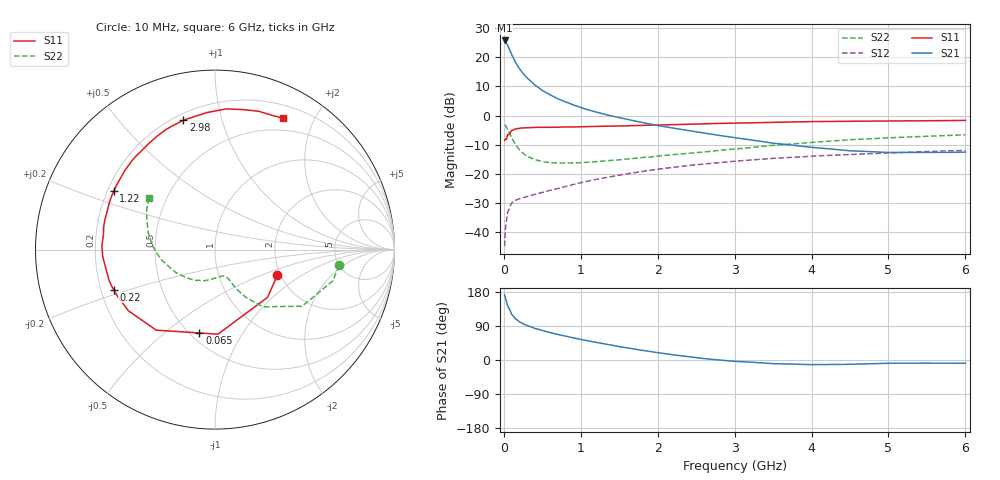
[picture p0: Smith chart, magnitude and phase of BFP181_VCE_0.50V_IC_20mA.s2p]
! Infineon Technologies  Discrete & RF Semiconductors
! BFP181
! VCE = 0.50V,  IC =  20 mA
! Common Emitter S-Parameters:  Jan 2016
# GHz  S  MA  R  50
!  f  S11  S21  S12  S22
! GHz  MAG  ANG  MAG  ANG  MAG  ANG  MAG  ANG
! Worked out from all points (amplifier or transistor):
!   210 points, 10 MHz to 6 GHz, reference 50 ohm
!   highest |S21| = 25.8 dB at 10 MHz (marker M1)
!   |S21| within 3 dB of that: start of sweep to 71.07 MHz
!   unconditionally stable (mu >= 1): start of sweep to 28.76 MHz; 156 MHz to end of sweep
!   at 185 MHz: K = 1.13, MAG = 20.7 dB, |S12| = -28.8 dB
!   at 1.52 GHz: K = 3.10, MAG = 2.0 dB, |S12| = -20.4 dB
!   at 6 GHz: K = 2.47, MAG = -7.1 dB, |S12| = -12.0 dB
!   S11 on the Smith chart (normalised r, x): 10 MHz: 1.92, -0.64; 65 MHz: 0.56, -0.66; 220 MHz: 0.25, -0.18; 1.22 GHz: 0.23, +0.25; 2.98 GHz: 0.24, +0.76; 6 GHz: 0.35, +1.59
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0.01  0.3757 -22.4  19.48 171.7  0.0057 69.2  0.6968 -7.3
0.02  0.3955 -42.3  19.01 163.6  0.0109 67.2  0.679 -14.9
0.05  0.4714 -88.0  16.06 142.5  0.0219 55.6  0.5785 -33.1
0.065  0.4724 -100.6  14.42 137.6  0.0245 50.1  0.5258 -37.0
0.1  0.5554 -126.1  11.19 120.9  0.0312 41.2  0.4166 -49.9
0.15  0.5907 -144.7  8.278 108.9  0.0349 35.9  0.3181 -57.0
0.2  0.6043 -155.5  6.454 101.0  0.0372 33.9  0.2596 -60.7
0.22  0.6072 -158.5  5.968 99.0  0.0378 33.6  0.2453 -61.4
0.26  0.6146 -164.1  5.092 94.5  0.0391 33.3  0.2193 -62.9
0.3  0.6158 -168.3  4.443 90.9  0.0406 34.3  0.2008 -63.7
0.4  0.6265 -176.4  3.366 83.6  0.0441 36.6  0.1749 -65.7
0.5  0.6309 178.2  2.696 77.7  0.0477 38.6  0.1613 -68.3
0.7  0.6331 168.5  1.944 67.4  0.0557 42.9  0.1526 -73.6
1.02  0.6436 156.4  1.344 53.5  0.0708 46.3  0.1553 -85.6
1.22  0.6509 150.1  1.128 45.9  0.0808 46.8  0.1618 -93.2
1.5  0.6614 141.7  0.918 35.2  0.0945 46.7  0.1735 -102.6
2.02  0.6855 126.8  0.666 18.8  0.1205 43.7  0.2025 -122.2
2.98  0.7413 103.7  0.421 -3.1  0.1633 34.6  0.2645 -155.6
3.1  0.7452 101.3  0.4 -4.5  0.1679 33.3  0.2728 -159.3
4.1  0.7876 84.0  0.277 -12.1  0.2031 22.6  0.3533 174.7
5.1  0.8084 71.4  0.232 -8.5  0.2299 12.9  0.4194 155.0
6  0.8252 62.5  0.235 -8.7  0.2517 4.0  0.4669 142.3
